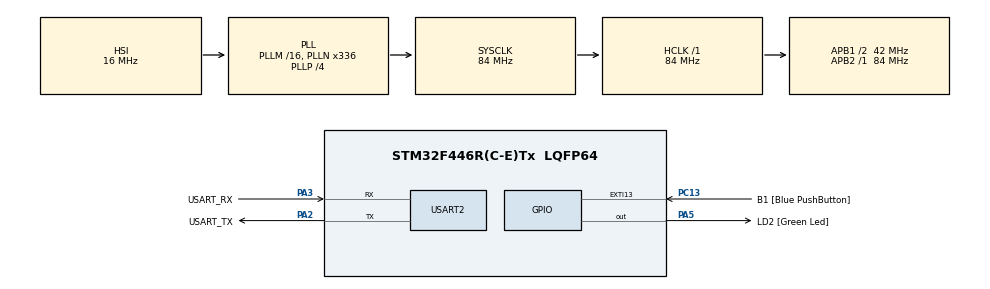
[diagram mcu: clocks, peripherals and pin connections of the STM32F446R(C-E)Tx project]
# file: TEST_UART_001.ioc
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Mcu.Family=STM32F4
Mcu.Name=STM32F446R(C-E)Tx
Mcu.Package=LQFP64
NVIC.EXTI15_10_IRQn=true\:0\:0\:false\:false\:true\:true\:true\:true
NVIC.PriorityGroup=NVIC_PRIORITYGROUP_0
NVIC.USART2_IRQn=true\:0\:0\:false\:false\:true\:true\:true\:true
PA13.GPIO_Label=TMS
PA13.Mode=Serial_Wire
PA13.Signal=SYS_JTMS-SWDIO
PA14.GPIO_Label=TCK
PA14.Mode=Serial_Wire
PA14.Signal=SYS_JTCK-SWCLK
PA2.GPIO_Label=USART_TX
PA2.Mode=Asynchronous
PA2.Signal=USART2_TX
PA3.GPIO_Label=USART_RX
PA3.Mode=Asynchronous
PA3.Signal=USART2_RX
PA5.GPIO_Label=LD2 [Green Led]
PA5.Signal=GPIO_Output
PB3.GPIO_Label=SWO
PB3.Signal=SYS_JTDO-SWO
PC13.GPIO_Label=B1 [Blue PushButton]
PC13.GPIO_ModeDefaultEXTI=GPIO_MODE_IT_FALLING
PC13.Signal=GPXTI13
PC14-OSC32_IN.Mode=LSE-External-Oscillator
PC14-OSC32_IN.Signal=RCC_OSC32_IN
PC15-OSC32_OUT.Mode=LSE-External-Oscillator
PC15-OSC32_OUT.Signal=RCC_OSC32_OUT
PH0-OSC_IN.Mode=HSE-External-Oscillator
PH0-OSC_IN.Signal=RCC_OSC_IN
PH1-OSC_OUT.Mode=HSE-External-Oscillator
PH1-OSC_OUT.Signal=RCC_OSC_OUT
ProjectManager.HeapSize=0x200
ProjectManager.StackSize=0x400
ProjectManager.TargetToolchain=STM32CubeIDE
RCC.48MHZClocksFreq_Value=84000000
RCC.AHBFreq_Value=84000000
RCC.APB1CLKDivider=RCC_HCLK_DIV2
RCC.APB1Freq_Value=42000000
RCC.APB1TimFreq_Value=84000000
RCC.APB2Freq_Value=84000000
RCC.APB2TimFreq_Value=84000000
RCC.CortexFreq_Value=84000000
RCC.FLatency-AdvancedSettings=FLASH_LATENCY_2
RCC.HCLKFreq_Value=84000000
RCC.HSE_VALUE=8000000
RCC.HSI_VALUE=16000000
RCC.PLLN=336
RCC.PLLP=RCC_PLLP_DIV4
RCC.SYSCLKFreq_VALUE=84000000
RCC.SYSCLKSource=RCC_SYSCLKSOURCE_PLLCLK
RCC.USBFreq_Value=168000000
RCC.VCOOutputFreq_Value=336000000
USART2.VirtualMode=VM_ASYNC
board=NUCLEO-F446RE

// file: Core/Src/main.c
/* USER CODE BEGIN Header */
/**
  ******************************************************************************
  * @file           : main.c
  * @brief          : Main program body
  ******************************************************************************
  * @attention
  *
  * Copyright (c) 2024 STMicroelectronics.
  * All rights reserved.
  *
  * This software is licensed under terms that can be found in the LICENSE file
  * in the root directory of this software component.
  * If no LICENSE file comes with this software, it is provided AS-IS.
  *
  ******************************************************************************
  */
/* USER CODE END Header */
#include "main.h"

/* USER CODE BEGIN Includes */
#include <string.h>
/* USER CODE END Includes */

UART_HandleTypeDef huart2;

/* USER CODE BEGIN PV */
uint8_t RxData[10];
uint8_t rxDataCheck = 0;
/* USER CODE END PV */

void SystemClock_Config(void);
static void MX_GPIO_Init(void);
static void MX_USART2_UART_Init(void);

/* USER CODE BEGIN 0 */
void HAL_UART_RxCpltCallback(UART_HandleTypeDef *huart) {

	 rxDataCheck = 1;
}
/* USER CODE END 0 */

int main(void)
{

  /* MCU Configuration--------------------------------------------------------*/

  /* Reset of all peripherals, Initializes the Flash interface and the Systick. */
  HAL_Init();

  /* Configure the system clock */
  SystemClock_Config();

  /* Initialize all configured peripherals */
  MX_GPIO_Init();
  MX_USART2_UART_Init();
  /* USER CODE BEGIN 2 */
  HAL_UART_Transmit(&huart2,(uint8_t *) "Hello System From STM32 \r\n", 26, HAL_MAX_DELAY);
  HAL_Delay(1000);

  HAL_UART_Receive_IT(&huart2, RxData, 7);
  /* USER CODE END 2 */

  /* Infinite loop */
  /* USER CODE BEGIN WHILE */
  while (1)
  {
	  if(rxDataCheck) {
		if(strcmp((char *)RxData,"LED1ON ") == 0) {

			HAL_GPIO_WritePin(LD2_GPIO_Port, LD2_Pin, GPIO_PIN_SET);
			HAL_UART_Transmit(&huart2, RxData, strlen((char *)RxData), HAL_MAX_DELAY);
			memset(RxData,0,strlen((char *)RxData));
		}

		if(strcmp((char *)RxData,"LED1OFF") == 0) {

			HAL_GPIO_WritePin(LD2_GPIO_Port, LD2_Pin, GPIO_PIN_RESET);
			HAL_UART_Transmit(&huart2, RxData, strlen((char *)RxData), HAL_MAX_DELAY);
			memset(RxData,0,strlen((char *)RxData));
		}
		rxDataCheck = 0;
	  }
	  HAL_UART_Receive_IT(&huart2, RxData, 7);
    /* USER CODE END WHILE */

  }
}

void SystemClock_Config(void)
{
  RCC_OscInitTypeDef RCC_OscInitStruct = {0};
  RCC_ClkInitTypeDef RCC_ClkInitStruct = {0};

  /** Configure the main internal regulator output voltage
  */
  __HAL_RCC_PWR_CLK_ENABLE();
  __HAL_PWR_VOLTAGESCALING_CONFIG(PWR_REGULATOR_VOLTAGE_SCALE3);

  /** Initializes the RCC Oscillators according to the specified parameters
  * in the RCC_OscInitTypeDef structure.
  */
  RCC_OscInitStruct.OscillatorType = RCC_OSCILLATORTYPE_HSI;
  RCC_OscInitStruct.HSIState = RCC_HSI_ON;
  RCC_OscInitStruct.HSICalibrationValue = RCC_HSICALIBRATION_DEFAULT;
  RCC_OscInitStruct.PLL.PLLState = RCC_PLL_ON;
  RCC_OscInitStruct.PLL.PLLSource = RCC_PLLSOURCE_HSI;
  RCC_OscInitStruct.PLL.PLLM = 16;
  RCC_OscInitStruct.PLL.PLLN = 336;
  RCC_OscInitStruct.PLL.PLLP = RCC_PLLP_DIV4;
  RCC_OscInitStruct.PLL.PLLQ = 2;
  RCC_OscInitStruct.PLL.PLLR = 2;
  if (HAL_RCC_OscConfig(&RCC_OscInitStruct) != HAL_OK)
  {
    Error_Handler();
  }

  /** Initializes the CPU, AHB and APB buses clocks
  */
  RCC_ClkInitStruct.ClockType = RCC_CLOCKTYPE_HCLK|RCC_CLOCKTYPE_SYSCLK
                              |RCC_CLOCKTYPE_PCLK1|RCC_CLOCKTYPE_PCLK2;
  RCC_ClkInitStruct.SYSCLKSource = RCC_SYSCLKSOURCE_PLLCLK;
  RCC_ClkInitStruct.AHBCLKDivider = RCC_SYSCLK_DIV1;
  RCC_ClkInitStruct.APB1CLKDivider = RCC_HCLK_DIV2;
  RCC_ClkInitStruct.APB2CLKDivider = RCC_HCLK_DIV1;

  if (HAL_RCC_ClockConfig(&RCC_ClkInitStruct, FLASH_LATENCY_2) != HAL_OK)
  {
    Error_Handler();
  }
}

static void MX_USART2_UART_Init(void)
{

  huart2.Instance = USART2;
  huart2.Init.BaudRate = 115200;
  huart2.Init.WordLength = UART_WORDLENGTH_8B;
  huart2.Init.StopBits = UART_STOPBITS_1;
  huart2.Init.Parity = UART_PARITY_NONE;
  huart2.Init.Mode = UART_MODE_TX_RX;
  huart2.Init.HwFlowCtl = UART_HWCONTROL_NONE;
  huart2.Init.OverSampling = UART_OVERSAMPLING_16;
  if (HAL_UART_Init(&huart2) != HAL_OK)
  {
    Error_Handler();
  }

}

static void MX_GPIO_Init(void)
{
  GPIO_InitTypeDef GPIO_InitStruct = {0};

  /* GPIO Ports Clock Enable */
  __HAL_RCC_GPIOC_CLK_ENABLE();
  __HAL_RCC_GPIOH_CLK_ENABLE();
  __HAL_RCC_GPIOA_CLK_ENABLE();
  __HAL_RCC_GPIOB_CLK_ENABLE();

  /*Configure GPIO pin Output Level */
  HAL_GPIO_WritePin(LD2_GPIO_Port, LD2_Pin, GPIO_PIN_RESET);

  /*Configure GPIO pin : B1_Pin */
  GPIO_InitStruct.Pin = B1_Pin;
  GPIO_InitStruct.Mode = GPIO_MODE_IT_FALLING;
  GPIO_InitStruct.Pull = GPIO_NOPULL;
  HAL_GPIO_Init(B1_GPIO_Port, &GPIO_InitStruct);

  /*Configure GPIO pin : LD2_Pin */
  GPIO_InitStruct.Pin = LD2_Pin;
  GPIO_InitStruct.Mode = GPIO_MODE_OUTPUT_PP;
  GPIO_InitStruct.Pull = GPIO_NOPULL;
  GPIO_InitStruct.Speed = GPIO_SPEED_FREQ_LOW;
  HAL_GPIO_Init(LD2_GPIO_Port, &GPIO_InitStruct);

  /* EXTI interrupt init*/
  HAL_NVIC_SetPriority(EXTI15_10_IRQn, 0, 0);
  HAL_NVIC_EnableIRQ(EXTI15_10_IRQn);

}

void Error_Handler(void)
{
  __disable_irq();
  while (1)
  {
  }
}
